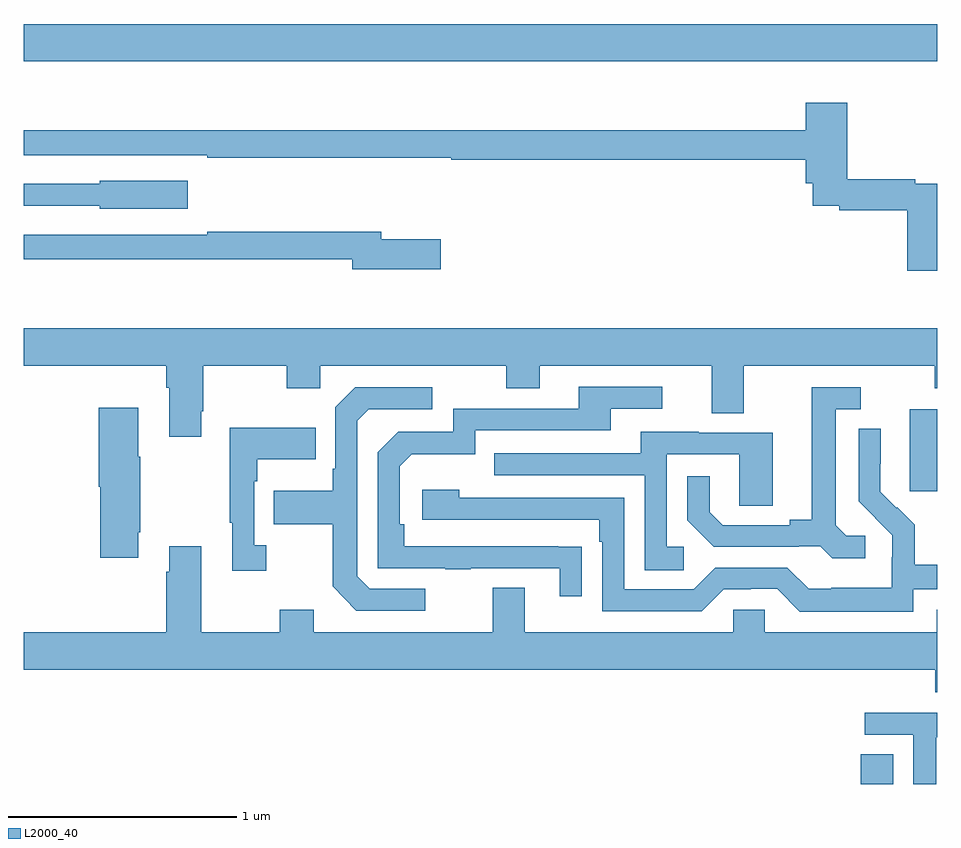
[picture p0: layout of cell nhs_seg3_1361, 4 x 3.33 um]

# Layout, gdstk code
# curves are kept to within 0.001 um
import gdstk
lib = gdstk.Library(unit=1e-6, precision=1e-09)
def R(c, l, rs):  # rectangles x0, y0, x1, y1
    for r in rs: c.add(gdstk.rectangle(r[:2], r[2:], *l))
def P(c, l, *ps):  # polygons
    for p in ps: c.add(gdstk.Polygon(p, *l))
L2000_40 = (2000, 40)

nhs_seg3_1361 = lib.new_cell('nhs_seg3_1361')
R(nhs_seg3_1361, L2000_40, [(184.664,716.4,184.807,716.531), (184.88,717.681,185,718.042), (181,719.564,185,719.728)])
P(nhs_seg3_1361, L2000_40, [(185,719.028),(184.904,719.028),(184.904,719.048),(184.607,719.048),(184.607,719.383),(184.424,719.383),(184.424,719.263),(181,719.263),(181,719.154),(181.804,719.154),(181.804,719.142),(182.872,719.142),(182.872,719.134),(184.424,719.134),(184.424,719.03),(184.454,719.03),(184.454,718.932),(184.57,718.932),(184.57,718.912),(184.868,718.912),(184.868,718.647),(185,718.647)],
  [(181.717,719.041),(181.332,719.041),(181.332,719.028),(181,719.028),(181,718.932),(181.332,718.932),(181.332,718.919),(181.717,718.919)],
  [(182.827,718.785),(182.566,718.785),(182.566,718.819),(181.804,718.819),(181.804,718.806),(181,718.806),(181,718.698),(182.438,718.698),(182.438,718.655),(182.827,718.655)],
  [(181.777,718.033),(181.785,718.033),(181.785,718.232),(182.152,718.232),(182.152,718.133),(182.298,718.133),(182.298,718.232),(183.112,718.232),(183.112,718.133),(183.259,718.133),(183.259,718.232),(184.013,718.232),(184.013,718.024),(184.153,718.024),(184.153,718.232),(184.99,718.232),(184.99,718.133),(185,718.133),(185,718.396),(181,718.396),(181,718.232),(181.625,718.232),(181.625,718.136),(181.637,718.136),(181.637,717.921),(181.777,717.921)],
  [(183.443,717.44),(182.666,717.441),(182.666,717.538),(182.646,717.538),(182.646,717.792),(182.699,717.845),(182.976,717.845),(182.976,717.948),(183.571,717.948),(183.571,718.044),(183.796,718.044),(183.796,718.14),(183.431,718.14),(183.431,718.044),(182.88,718.044),(182.88,717.942),(182.64,717.942),(182.55,717.852),(182.55,717.345),(182.845,717.345),(182.845,717.34),(182.957,717.34),(182.957,717.345),(183.347,717.345),(183.347,717.222),(183.443,717.222)],
  [(182.758,717.255),(182.514,717.255),(182.46,717.309),(182.46,717.99),(182.511,718.041),(182.788,718.041),(182.788,718.137),(182.451,718.137),(182.364,718.05),(182.364,717.781),(182.352,717.781),(182.352,717.685),(182.095,717.685),(182.095,717.538),(182.352,717.538),(182.352,717.265),(182.457,717.159),(182.758,717.159)],
  [(184.684,717.486),(184.602,717.486),(184.555,717.533),(184.555,718.041),(184.666,718.041),(184.666,718.137),(184.451,718.137),(184.451,717.557),(184.355,717.557),(184.355,717.534),(184.06,717.534),(184.003,717.591),(184.003,717.748),(183.906,717.748),(183.906,717.554),(184.022,717.438),(184.394,717.438),(184.394,717.441),(184.488,717.441),(184.54,717.389),(184.684,717.389)],
  [(181.501,717.502),(181.509,717.502),(181.509,717.833),(181.501,717.833),(181.501,718.048),(181.328,718.048),(181.328,717.702),(181.334,717.702),(181.334,717.39),(181.501,717.39)],
  [(182.062,717.446),(182.01,717.446),(182.01,717.725),(182.023,717.725),(182.023,717.821),(182.279,717.821),(182.279,717.961),(181.902,717.961),(181.902,717.545),(181.913,717.545),(181.913,717.333),(182.062,717.333)],
  [(184.896,717.252),(185,717.252),(185,717.361),(184.901,717.361),(184.901,717.535),(184.824,717.612),(184.821,717.609),(184.751,717.68),(184.752,717.956),(184.656,717.956),(184.656,717.638),(184.802,717.49),(184.802,717.393),(184.8,717.393),(184.8,717.259),(184.537,717.259),(184.537,717.255),(184.437,717.255),(184.344,717.348),(184.029,717.348),(183.933,717.252),(183.63,717.252),(183.63,717.654),(182.906,717.654),(182.906,717.688),(182.745,717.688),(182.745,717.558),(183.521,717.558),(183.521,717.461),(183.534,717.461),(183.534,717.156),(183.969,717.156),(184.065,717.252),(184.184,717.252),(184.184,717.255),(184.299,717.255),(184.399,717.155),(184.896,717.155)],
  [(183.889,717.438),(183.816,717.438),(183.816,717.843),(184.134,717.843),(184.134,717.619),(184.279,717.619),(184.279,717.939),(183.955,717.939),(183.955,717.943),(183.701,717.943),(183.701,717.849),(183.061,717.849),(183.061,717.753),(183.72,717.753),(183.72,717.337),(183.889,717.337)],
  [(185,717.163),(184.997,717.163),(184.997,717.064),(184.245,717.064),(184.245,717.162),(184.107,717.162),(184.107,717.064),(183.193,717.064),(183.193,717.259),(183.053,717.259),(183.053,717.064),(182.269,717.064),(182.269,717.163),(182.122,717.163),(182.122,717.064),(181.777,717.064),(181.777,717.442),(181.637,717.442),(181.637,717.329),(181.625,717.329),(181.625,717.064),(181,717.064),(181,716.9),(184.991,716.9),(184.991,716.801),(185,716.801)],
  [(184.995,716.604),(185,716.604),(185,716.712),(184.683,716.712),(184.683,716.616),(184.896,716.616),(184.896,716.4),(184.995,716.4)])

lib.write_gds('nhs_seg3_1361.gds')
